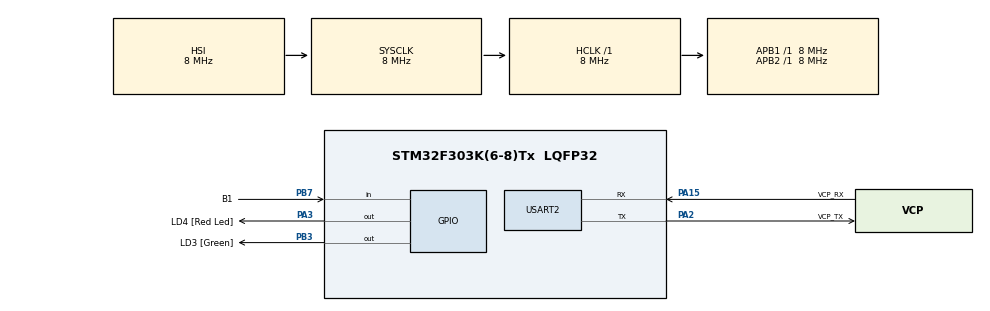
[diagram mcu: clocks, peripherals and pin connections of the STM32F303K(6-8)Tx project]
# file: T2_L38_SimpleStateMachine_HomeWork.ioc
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Mcu.Family=STM32F3
Mcu.Name=STM32F303K(6-8)Tx
Mcu.Package=LQFP32
NVIC.PriorityGroup=NVIC_PRIORITYGROUP_4
PA13.GPIO_Label=SWDIO
PA13.Mode=Serial_Wire
PA13.Signal=SYS_JTMS-SWDIO
PA14.GPIO_Label=SWCLK
PA14.Mode=Serial_Wire
PA14.Signal=SYS_JTCK-SWCLK
PA15.GPIO_Label=VCP_RX
PA15.Mode=Asynchronous
PA15.Signal=USART2_RX
PA2.GPIO_Label=VCP_TX
PA2.Mode=Asynchronous
PA2.Signal=USART2_TX
PA3.GPIO_Label=LD4 [Red Led]
PA3.Signal=GPIO_Output
PB3.GPIO_Label=LD3 [Green]
PB3.Signal=GPIO_Output
PB7.GPIO_Label=B1
PB7.Signal=GPIO_Input
PF0\ /\ OSC_IN.GPIO_Label=MCO
PF0\ /\ OSC_IN.Mode=HSE-External-Clock-Source
PF0\ /\ OSC_IN.Signal=RCC_OSC_IN
ProjectManager.HeapSize=0x200
ProjectManager.StackSize=0x400
ProjectManager.TargetToolchain=STM32CubeIDE
RCC.AHBFreq_Value=8000000
RCC.APB1Freq_Value=8000000
RCC.APB2Freq_Value=8000000
RCC.CortexFreq_Value=8000000
RCC.HSE_VALUE=8000000
RCC.HSI_VALUE=8000000
RCC.SYSCLKFreq_VALUE=8000000
USART2.VirtualMode-Asynchronous=VM_ASYNC
board=NUCLEO-F303K8

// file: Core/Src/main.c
/* USER CODE BEGIN Header */
/**
  ******************************************************************************
  * @file           : main.c
  * @brief          : Main program body
  ******************************************************************************
  * @attention
  *
  * <h2><center>&copy; Copyright (c) 2021 STMicroelectronics.
  * All rights reserved.</center></h2>
  *
  * This software component is licensed by ST under BSD 3-Clause license,
  * the "License"; You may not use this file except in compliance with the
  * License. You may obtain a copy of the License at:
  *                        opensource.org/licenses/BSD-3-Clause
  *
  ******************************************************************************
  */
/* USER CODE END Header */
#include "main.h"
#include "usart.h"
#include "gpio.h"

/* USER CODE BEGIN Includes */
#include "button.h"
/* USER CODE END Includes */

/* USER CODE BEGIN PV */
TButton BlueKey;
/* USER CODE END PV */

void SystemClock_Config(void);
/* USER CODE BEGIN PFP */
void TurnOnLed(void);
void TurnOffLed(void);
void ToggleLed(void);
void ToggleRedLed(void);
/* USER CODE END PFP */

int main(void)
{

  /* MCU Configuration--------------------------------------------------------*/

  /* Reset of all peripherals, Initializes the Flash interface and the Systick. */
  HAL_Init();

  /* Configure the system clock */
  SystemClock_Config();

  /* Initialize all configured peripherals */
  MX_GPIO_Init();
  MX_USART2_UART_Init();
  /* USER CODE BEGIN 2 */
  ButtonInitKey(&BlueKey, B1_GPIO_Port, B1_Pin, 20, 2000, 500, 500, 0);
  ButtonRegisterPressCallback(&BlueKey, TurnOnLed);
  ButtonRegisterLongPressCallback(&BlueKey, TurnOffLed);
  ButtonRegisterRepeatCallback(&BlueKey, ToggleLed);
  ButtonRegisterReleaseCallback(&BlueKey, ToggleRedLed);
  /* USER CODE END 2 */

  /* Infinite loop */
  /* USER CODE BEGIN WHILE */
  while (1)
  {
	  ButtonTask(&BlueKey);

    /* USER CODE END WHILE */

  }
}

void SystemClock_Config(void)
{
  RCC_OscInitTypeDef RCC_OscInitStruct = {0};
  RCC_ClkInitTypeDef RCC_ClkInitStruct = {0};

  /** Initializes the RCC Oscillators according to the specified parameters
  * in the RCC_OscInitTypeDef structure.
  */
  RCC_OscInitStruct.OscillatorType = RCC_OSCILLATORTYPE_HSI;
  RCC_OscInitStruct.HSIState = RCC_HSI_ON;
  RCC_OscInitStruct.HSICalibrationValue = RCC_HSICALIBRATION_DEFAULT;
  RCC_OscInitStruct.PLL.PLLState = RCC_PLL_NONE;
  if (HAL_RCC_OscConfig(&RCC_OscInitStruct) != HAL_OK)
  {
    Error_Handler();
  }
  /** Initializes the CPU, AHB and APB buses clocks
  */
  RCC_ClkInitStruct.ClockType = RCC_CLOCKTYPE_HCLK|RCC_CLOCKTYPE_SYSCLK
                              |RCC_CLOCKTYPE_PCLK1|RCC_CLOCKTYPE_PCLK2;
  RCC_ClkInitStruct.SYSCLKSource = RCC_SYSCLKSOURCE_HSI;
  RCC_ClkInitStruct.AHBCLKDivider = RCC_SYSCLK_DIV1;
  RCC_ClkInitStruct.APB1CLKDivider = RCC_HCLK_DIV1;
  RCC_ClkInitStruct.APB2CLKDivider = RCC_HCLK_DIV1;

  if (HAL_RCC_ClockConfig(&RCC_ClkInitStruct, FLASH_LATENCY_0) != HAL_OK)
  {
    Error_Handler();
  }
}

/* USER CODE BEGIN 4 */
void ToggleLed(void)
{
	HAL_GPIO_TogglePin(LD3_GPIO_Port,LD3_Pin);
}
void ToggleRedLed(void)
{
	HAL_GPIO_TogglePin(LD4_GPIO_Port,LD4_Pin);
}
void TurnOnLed(void)
{
	HAL_GPIO_WritePin(LD3_GPIO_Port,LD3_Pin, GPIO_PIN_SET);
}
void TurnOffLed(void)
{
	HAL_GPIO_WritePin(LD3_GPIO_Port,LD3_Pin, GPIO_PIN_RESET);
}
/* USER CODE END 4 */

void Error_Handler(void)
{
  __disable_irq();
  while (1)
  {
  }
}

/************************ (C) COPYRIGHT STMicroelectronics *****END OF FILE****/
